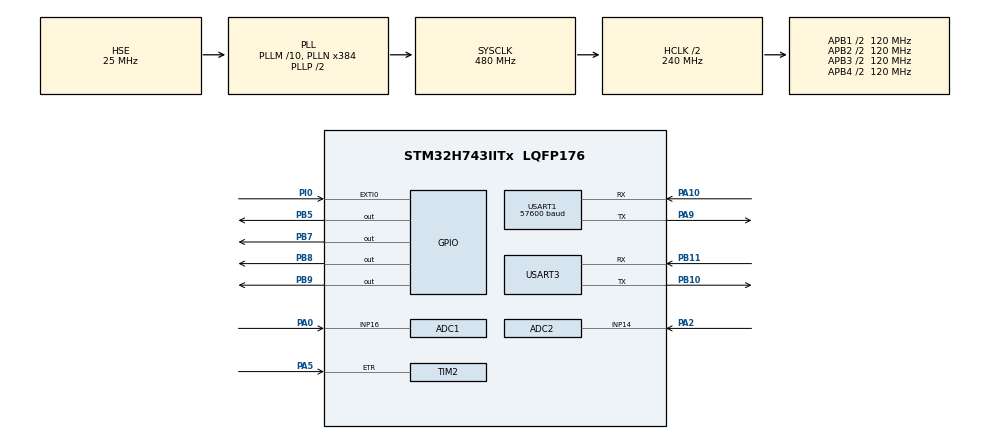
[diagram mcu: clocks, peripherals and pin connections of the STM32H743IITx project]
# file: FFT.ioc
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ADC1.Channel-2\#ChannelRegularConversion=ADC_CHANNEL_16
ADC1.ConversionDataManagement=ADC_CONVERSIONDATA_DMA_ONESHOT
ADC1.ExternalTrigConv=ADC_EXTERNALTRIG_T3_TRGO
ADC1.NbrOfConversionFlag=1
ADC1.OffsetNumber-2\#ChannelRegularConversion=ADC_OFFSET_NONE
ADC1.OffsetSignedSaturation-2\#ChannelRegularConversion=DISABLE
ADC1.Rank-2\#ChannelRegularConversion=1
ADC1.Resolution=ADC_RESOLUTION_12B
ADC1.SamplingTime-2\#ChannelRegularConversion=ADC_SAMPLETIME_1CYCLE_5
ADC1.master=1
ADC2.Channel-0\#ChannelRegularConversion=ADC_CHANNEL_14
ADC2.ConversionDataManagement=ADC_CONVERSIONDATA_DMA_ONESHOT
ADC2.ExternalTrigConv=ADC_EXTERNALTRIG_T8_TRGO
ADC2.NbrOfConversion=1
ADC2.NbrOfConversionFlag=1
ADC2.OffsetNumber-0\#ChannelRegularConversion=ADC_OFFSET_NONE
ADC2.OffsetSignedSaturation-0\#ChannelRegularConversion=DISABLE
ADC2.Rank-0\#ChannelRegularConversion=1
ADC2.SamplingTime-0\#ChannelRegularConversion=ADC_SAMPLETIME_1CYCLE_5
CORTEX_M7.AccessPermission-Cortex_Memory_Protection_Unit_Region0_Settings=MPU_REGION_PRIV_RO
CORTEX_M7.BaseAddress-Cortex_Memory_Protection_Unit_Region0_Settings=0x08000000
CORTEX_M7.Enable-Cortex_Memory_Protection_Unit_Region0_Settings=MPU_REGION_ENABLE
CORTEX_M7.IsCacheable-Cortex_Memory_Protection_Unit_Region0_Settings=MPU_ACCESS_CACHEABLE
CORTEX_M7.MPU_Control=MPU_PRIVILEGED_DEFAULT
CORTEX_M7.Size-Cortex_Memory_Protection_Unit_Region0_Settings=MPU_REGION_SIZE_2MB
CORTEX_M7.TypeExtField-Cortex_Memory_Protection_Unit_Region0_Settings=MPU_TEX_LEVEL1
Dma.ADC1.0.Direction=DMA_PERIPH_TO_MEMORY
Dma.ADC1.0.EventEnable=DISABLE
Dma.ADC1.0.FIFOMode=DMA_FIFOMODE_DISABLE
Dma.ADC1.0.Instance=DMA1_Stream0
Dma.ADC1.0.MemDataAlignment=DMA_MDATAALIGN_HALFWORD
Dma.ADC1.0.MemInc=DMA_MINC_ENABLE
Dma.ADC1.0.Mode=DMA_NORMAL
Dma.ADC1.0.PeriphDataAlignment=DMA_PDATAALIGN_HALFWORD
Dma.ADC1.0.PeriphInc=DMA_PINC_DISABLE
Dma.ADC1.0.Polarity=HAL_DMAMUX_REQ_GEN_RISING
Dma.ADC1.0.Priority=DMA_PRIORITY_LOW
Dma.ADC1.0.RequestNumber=1
Dma.ADC1.0.SignalID=NONE
Dma.ADC1.0.SyncEnable=DISABLE
Dma.ADC1.0.SyncPolarity=HAL_DMAMUX_SYNC_NO_EVENT
Dma.ADC1.0.SyncRequestNumber=1
Dma.ADC1.0.SyncSignalID=NONE
Dma.ADC2.1.Direction=DMA_PERIPH_TO_MEMORY
Dma.ADC2.1.EventEnable=DISABLE
Dma.ADC2.1.FIFOMode=DMA_FIFOMODE_DISABLE
Dma.ADC2.1.Instance=DMA1_Stream1
Dma.ADC2.1.MemDataAlignment=DMA_MDATAALIGN_HALFWORD
Dma.ADC2.1.MemInc=DMA_MINC_ENABLE
Dma.ADC2.1.Mode=DMA_NORMAL
Dma.ADC2.1.PeriphDataAlignment=DMA_PDATAALIGN_HALFWORD
Dma.ADC2.1.PeriphInc=DMA_PINC_DISABLE
Dma.ADC2.1.Polarity=HAL_DMAMUX_REQ_GEN_RISING
Dma.ADC2.1.Priority=DMA_PRIORITY_LOW
Dma.ADC2.1.RequestNumber=1
Dma.ADC2.1.SignalID=NONE
Dma.ADC2.1.SyncEnable=DISABLE
Dma.ADC2.1.SyncPolarity=HAL_DMAMUX_SYNC_NO_EVENT
Dma.ADC2.1.SyncRequestNumber=1
Dma.ADC2.1.SyncSignalID=NONE
Dma.Request0=ADC1
Dma.Request1=ADC2
Mcu.Family=STM32H7
Mcu.Name=STM32H743IITx
Mcu.Package=LQFP176
NVIC.DMA1_Stream0_IRQn=true\:1\:0\:true\:false\:true\:false\:true\:true
NVIC.DMA1_Stream1_IRQn=true\:1\:0\:true\:false\:true\:false\:true\:true
NVIC.EXTI0_IRQn=true\:0\:0\:true\:false\:true\:true\:true\:true
NVIC.PriorityGroup=NVIC_PRIORITYGROUP_4
NVIC.TIM4_IRQn=true\:1\:0\:true\:false\:true\:true\:true\:true
PA0.Mode=IN16-Single-Ended
PA0.Signal=ADC1_INP16
PA10.Mode=Asynchronous
PA10.Signal=USART1_RX
PA13\ (JTMS/SWDIO).Mode=Serial_Wire
PA13\ (JTMS/SWDIO).Signal=DEBUG_JTMS-SWDIO
PA14\ (JTCK/SWCLK).Mode=Serial_Wire
PA14\ (JTCK/SWCLK).Signal=DEBUG_JTCK-SWCLK
PA2.Signal=ADCx_INP14
PA5.Signal=S_TIM2_CH1_ETR
PA9.Mode=Asynchronous
PA9.Signal=USART1_TX
PB10.Mode=Asynchronous
PB10.Signal=USART3_TX
PB11.Mode=Asynchronous
PB11.Signal=USART3_RX
PB5.Signal=GPIO_Output
PB7.Signal=GPIO_Output
PB8.Signal=GPIO_Output
PB9.Signal=GPIO_Output
PC14-OSC32_IN\ (OSC32_IN).Mode=LSE-External-Oscillator
PC14-OSC32_IN\ (OSC32_IN).Signal=RCC_OSC32_IN
PC15-OSC32_OUT\ (OSC32_OUT).Mode=LSE-External-Oscillator
PC15-OSC32_OUT\ (OSC32_OUT).Signal=RCC_OSC32_OUT
PH0-OSC_IN\ (PH0).Mode=HSE-External-Oscillator
PH0-OSC_IN\ (PH0).Signal=RCC_OSC_IN
PH1-OSC_OUT\ (PH1).Mode=HSE-External-Oscillator
PH1-OSC_OUT\ (PH1).Signal=RCC_OSC_OUT
PI0.GPIO_ModeDefaultEXTI=GPIO_MODE_IT_FALLING
PI0.GPIO_PuPd=GPIO_PULLUP
PI0.Signal=GPXTI0
ProjectManager.HeapSize=0x200
ProjectManager.StackSize=0x400
ProjectManager.TargetToolchain=MDK-ARM V5.32
RCC.ADCFreq_Value=75000000
RCC.APB1Freq_Value=120000000
RCC.APB2Freq_Value=120000000
RCC.APB3Freq_Value=120000000
RCC.APB4Freq_Value=120000000
RCC.CortexFreq_Value=480000000
RCC.D1PPRE=RCC_APB3_DIV2
RCC.D2PPRE1=RCC_APB1_DIV2
RCC.D2PPRE2=RCC_APB2_DIV2
RCC.D3PPRE=RCC_APB4_DIV2
RCC.DIVM1=10
RCC.DIVM2=4
RCC.DIVN1=384
RCC.DIVN2=24
RCC.DIVR1=10
RCC.HCLKFreq_Value=240000000
RCC.HPRE=RCC_HCLK_DIV2
RCC.HSE_VALUE=25000000
RCC.PLL2FRACN=0
RCC.PLL3FRACN=0
RCC.PLLFRACN=0
RCC.PLLSourceVirtual=RCC_PLLSOURCE_HSE
RCC.SYSCLKFreq_VALUE=480000000
RCC.SYSCLKSource=RCC_SYSCLKSOURCE_PLLCLK
RCC.USBFreq_Value=480000000
SH.ADCx_INP14.0=ADC2_INP14,IN14-Single-Ended
SH.S_TIM2_CH1_ETR.0=TIM2_ETR,ClockSourceETR_Mode2
TIM3.Period=2000-1
TIM3.Prescaler=240-1
TIM3.TIM_MasterOutputTrigger=TIM_TRGO_UPDATE
TIM4.Period=10000-1
TIM4.Prescaler=24000-1
TIM8.Period=0
TIM8.Prescaler=59
USART1.BaudRate=57600
USART1.VirtualMode-Asynchronous=VM_ASYNC
USART3.VirtualMode-Asynchronous=VM_ASYNC
VP_MEMORYMAP_VS_MEMORYMAP.Mode=CurAppReg
VP_TIM3_VS_ClockSourceINT.Mode=Internal
VP_TIM4_VS_ClockSourceINT.Mode=Internal
VP_TIM8_VS_ClockSourceINT.Mode=Internal
board=custom

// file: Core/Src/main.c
/* USER CODE BEGIN Header */
/**
  ******************************************************************************
  * @file           : main.c
  * @brief          : Main program body
  ******************************************************************************
  * @attention
  *
  * Copyright (c) 2026 STMicroelectronics.
  * All rights reserved.
  *
  * This software is licensed under terms that can be found in the LICENSE file
  * in the root directory of this software component.
  * If no LICENSE file comes with this software, it is provided AS-IS.
  *
  ******************************************************************************
  */
/* USER CODE END Header */
#include "main.h"
#include "adc.h"
#include "dma.h"
#include "tim.h"
#include "usart.h"
#include "gpio.h"

/* USER CODE BEGIN Includes */
#include <stdio.h>
#include <xinhao.h>
/* USER CODE END Includes */

void SystemClock_Config(void);
void PeriphCommonClock_Config(void);
static void MPU_Config(void);

/* USER CODE BEGIN 0 */

// 自定义函数：动态改变采样频率
// 参数 psc: 新的预分频器值 (TIM_Prescaler)
// 参数 arr: 新的自动重载值 (TIM_Period)
void Change_Sample_Frequency (uint16_t psc, uint16_t arr)
{
    // 1. 停止定时器（如果有正在进行的ADC采集，最好也暂停）
    HAL_TIM_Base_Stop(&htim3); // 假设你的定时器句柄是 htim

    // 2. 修改定时器的核心参数
    //    ⚠️ 重要：修改参数前必须关闭定时器，否则可能导致配置错误
    __HAL_TIM_SET_PRESCALER(&htim3, psc);
    __HAL_TIM_SET_AUTORELOAD(&htim3, arr);

    // 3. 强制产生一个更新事件，让新的ARR值立即生效
    __HAL_TIM_SET_COUNTER(&htim3, 0); // 计数器清零
	HAL_TIM_GenerateEvent(&htim3, TIM_EVENTSOURCE_UPDATE);

    // 4. 重新启动定时器
    HAL_TIM_Base_Start(&htim3);
}

uint8_t dmaComp = 0;        //ADC1采集完成标志位
uint8_t dmaComp_ADC2 = 0;   //ADC2采集完成标志位

uint8_t key_presses = 1;     //对按键次数计次，初始值为1。一次按下按键后，只有按键消抖完成才会变成2，
uint8_t Signal_switch = 1;   //设置一个标志位，用于开启或者关闭信号测量。1为开启，0为关闭。初始化为1
void HAL_GPIO_EXTI_Callback(uint16_t GPIO_Pin)      //GPIO外部中断回调函数
{
	if(GPIO_Pin==GPIO_PIN_0)//判断是否是PI0引脚
    {
		if(key_presses == 1)
		{
			Signal_switch = 0;      //关闭信号测量
		}
		else if(key_presses == 2)
		{
			Signal_switch = 3;
		}
    }
}

uint8_t switch_KG = 0;

void HAL_TIM_PeriodElapsedCallback(TIM_HandleTypeDef *htim)
{
  if (htim == &htim4 && Signal_switch == 1)
  {
	  freq = __HAL_TIM_GET_COUNTER(&htim2);   //获取信号频率
	  HAL_TIM_Base_Stop_IT (&htim4);          //关闭定时器中断
	  __HAL_TIM_SET_COUNTER (&htim4,0);       //将中断定时器的计数器值归零
	  printf("t15.txt=\"%u\"\xff\xff\xff",freq);

	  uint16_t arr = 0;
	  if(freq == 0)
	  {
	      Change_Sample_Frequency (0, 59);	  //1000HZ采样率，采集时间固定1s
	  }
	  else if(freq == 1)
	  {
	      Change_Sample_Frequency (119, 1999);	  //1000HZ采样率，采集时间固定1s
	  }
	  else if(freq > 1 && freq <= 20)
	  {
	      Change_Sample_Frequency (59, 1999);	  //2000HZ采样率，采集时间固定0.5s
	  }
	  else if(freq > 20 && freq <= 1000)         //根据频率修改采样率
	  {
		  arr = 10000000.0f / 100.0f / (float)freq;           //预分频后 10MHz 的频率，最后每个周期采集100个点
	      Change_Sample_Frequency (23, arr);
	  }
	  else if(freq > 1000 && freq <= 40000)
	  {
		  arr = 240000000.0 / 100.0 / (float)freq;          //预分频后 240MHz 的频率，最后每个周期采集100个点
	      Change_Sample_Frequency (0, arr);
	  }
	  else if(freq > 40000)
	  {
		  arr = 2400000.0 * 101.0 / (float)freq;          //预分频后 240MHz 的频率，最后每个周期采集100个点
	      Change_Sample_Frequency (0, arr);
	  }

	  if(Signal_switch == 1)     //控制信号测量是否执行
	  {
		  switch_KG = 1;     //得到频率测量结果后进入ADC中断通道1进行放大
		  HAL_ADC_Start_DMA (&hadc1, (uint32_t*)input1_data , 1000);   //启动ADC采集信号
	  }
  }
}

void HAL_ADC_ConvCpltCallback(ADC_HandleTypeDef* hadc)
{
  /* Prevent unused argument(s) compilation warning */
  if(hadc == &hadc1)    //ADC1中断回调
  {
	  HAL_ADC_Stop_DMA(&hadc1);  //关闭ADC1

	  dmaComp=1;  //采样结束标志位置1
  }
  else if(hadc == &hadc2)  //ADC2中断回调
  {
	  HAL_ADC_Stop_DMA(&hadc2);  //关闭ADC2

	  dmaComp_ADC2 = 1;
  }
  /* NOTE : This function should not be modified. When the callback is needed,
            function HAL_ADC_ConvCpltCallback must be implemented in the user file.
   */
}
/* USER CODE END 0 */

int main(void)
{

  /* MPU Configuration--------------------------------------------------------*/
  MPU_Config();

  /* MCU Configuration--------------------------------------------------------*/

  /* Reset of all peripherals, Initializes the Flash interface and the Systick. */
  HAL_Init();

  /* Configure the system clock */
  SystemClock_Config();

  /* Configure the peripherals common clocks */
  PeriphCommonClock_Config();

  /* Initialize all configured peripherals */
  MX_GPIO_Init();
  MX_DMA_Init();
  MX_USART1_UART_Init();
  MX_TIM3_Init();
  MX_TIM2_Init();
  MX_ADC1_Init();
  MX_TIM4_Init();
  MX_ADC2_Init();
  MX_TIM8_Init();
  MX_USART3_UART_Init();
  /* USER CODE BEGIN 2 */
  HAL_TIM_Base_Start(&htim2);
  HAL_TIM_Base_Start_IT (&htim4);
  HAL_TIM_Base_Start(&htim3);
//  HAL_ADC_Start_DMA(&hadc1, (uint32_t*)input_data, 4096);
  /* USER CODE END 2 */

  /* Infinite loop */
  /* USER CODE BEGIN WHILE */
  while (1)
  {
	  if(Signal_switch == 3)         //对第二次按下按键消抖并开启信号测量
	  {
		  HAL_Delay(300);             //按键消抖(同时消去按下和弹起时产生的抖动)
		  if(HAL_GPIO_ReadPin(GPIOI,GPIO_PIN_0)== GPIO_PIN_SET)  //确认是否为高电平（此时按键已经弹起）
		  {
			  printf("page 0\xff\xff\xff");
			  key_presses = 1;
			  Signal_switch = 1;     //开启信号测量
			  dmaComp = 1;            //确保主循环里面可以进入信号测量部分代码
		  }
	  }
	  if(dmaComp_ADC2 == 1 && Signal_switch == 2)    //音频信号处理及识别
	  {
		  dmaComp_ADC2 = 0;
		                           //音频信号处理及识别（补）
		  HAL_ADC_Stop_DMA(&hadc1);  //关闭ADC1
		  HAL_ADC_Start_DMA (&hadc2, (uint32_t*)Music_data , 3000);   //启动ADC2采集音频信号
	  }
	  if(Signal_switch == 0)         //对第一次按键按下消抖以及开启音频测量
	  {
		  HAL_Delay(300);             //按键消抖(同时消去按下和弹起时产生的抖动)
		  if(HAL_GPIO_ReadPin(GPIOI,GPIO_PIN_0)== GPIO_PIN_SET)  //确认是否为高电平（此时按键已经弹起）
		  {
			  printf("page 1\xff\xff\xff");
			  key_presses = 2;
			  Signal_switch = 2;      //阻止ADC采集完毕前再次进入循环
			  HAL_ADC_Start_DMA (&hadc2, (uint32_t*)Music_data , 3000);   //启动ADC2采集音频信号
		  }
	  }
	  if(dmaComp == 1 && Signal_switch == 1)
	  {
		  dmaComp = 0;
		  if(switch_KG == 1)   //修改PGA电路放大系数
	      {
			  MedianFilter_3Point(input1_data, Medianfilter_data , 1000);         //中值滤波
			  MeanFilter_3Point(Medianfilter_data , Meanfilter_data , 1000);     //均值滤波

			  for(int i=0; i<1000; i++)
			  {
				  Meanfilter_Type_data[i] = Meanfilter_data [i];
			  }

			  uint8_t Type = 0;
			  if(freq > 20 || freq == 1)
			  {
				  Type = WAVE_Type(Meanfilter_data , 1000); 			  //波形识别
			  }
			  else if(freq <= 20 && freq !=1)
			  {
				  uint16_t len = 0;
				  float length = 0;

				  len = freq / 2;
				  length = 1000.0f / (float)freq * 2.0f;
				  len = (float)len * length;
				  printf("t13.txt=\"%d\"\xff\xff\xff" , len);
				  Type = WAVE_Type(Meanfilter_Type_data, len);
			  }

			  if(Type == 1)
			  {
				  printf("t4.txt=\"方波\"\xff\xff\xff");
			  }
			  else if(Type == 2)
			  {
				  printf("t4.txt=\"正弦波\"\xff\xff\xff");
			  }
			  else if(Type == 3)
			  {
				  printf("t4.txt=\"三角波\"\xff\xff\xff");
			  }

			  if(Type == 1)     //方波(已矫正)
			  {
				  Calculate_Square_VPP (Meanfilter_data, 1000);
				  //Square_VPP_data(Meanfilter_data, 1000);
				  VPP = VPP * 3320.0f / 4095.0f;
			  }
			  else if(Type == 2)  //正弦波(已矫正)
			  {
				  Calculate_VPP_Remove3(Meanfilter_data, 1000);               //12取9
				  VPP = VPP * 3330.0f / 4095.0f;
			  }
			  else          //三角波
			  {
				  Calculate_VPP_Remove4(Meanfilter_data, 1000);       //12取8
				  VPP = VPP * 3345.0f / 4095.0f;
			  }

			  printf("t5.txt=\"%.1f\"\xff\xff\xff" , VPP);

			  MODE_Switch();      //模拟开关选择
			  printf("t20.txt=\"%d\"\xff\xff\xff" , Factor);

              HAL_Delay(20);    //放大系数调整缓冲时间
              switch_KG = 2;   //使放大后再进行下一次ADC采样
              HAL_ADC_Start_DMA (&hadc1, (uint32_t*)input1_data , 1000);   //启动ADC采集信号
	      }
	      else if(switch_KG == 2)   //放大后数据处理
	      {
			  MedianFilter_3Point(input1_data, Medianfilter_data , 1000);         //中值滤波
			  MeanFilter_3Point(Medianfilter_data , Meanfilter_data , 1000);     //均值滤波

			  for(int i=0; i<1000; i++)
			  {
				  Meanfilter_Type_data[i] = Meanfilter_data [i];
			  }

			  uint8_t Type = 0;
			  if(freq > 20 || freq == 1)
			  {
				  Type = WAVE_Type(Meanfilter_data , 1000); 			  //波形识别
			  }
			  else if(freq <= 20 && freq !=1)
			  {
				  uint16_t len = 0;
				  float length = 0;

				  len = freq / 2;
				  length = 1000.0f / (float)freq * 2.0f;
				  len = (float)len * length;
				  printf("t13.txt=\"%d\"\xff\xff\xff" , len);
				  Type = WAVE_Type(Meanfilter_Type_data, len);
			  }

			  if(freq >= 20)                 //线性插值得到100个波形数据点，刚好一个完整周期
			  {
				  Get_Bule_Data(100);
			  }
			  if(freq < 20)
			  {
				  Get_Bule_Data((uint16_t)(1000.0f / (float)freq * 2.0f));
			  }

			  BLE_Send_Waveform_100 (Bule_Data);  //发送数据到蓝牙

//			  for(int s=0; s<1000; s++)
//			  {
//				   printf("%.1f\n", Meanfilter_data[s]);
//			  }

			  if(Type == 1)
			  {
				  printf("t12.txt=\"方波\"\xff\xff\xff");
			  }
			  else if(Type == 2)
			  {
				  printf("t12.txt=\"正弦波\"\xff\xff\xff");
			  }
			  else if(Type == 3)
			  {
				  printf("t12.txt=\"三角波\"\xff\xff\xff");
			  }

			  //峰峰值精确计算
			  for(int i=0; i<1000; i++)
			  {
				  input_data_float[i] = (float)input1_data[i];
			  }

			  if(Type == 1)     //方波(已矫正)
			  {
				  Calculate_Square_VPP (Meanfilter_data, 1000);
				  //Square_VPP_data(Meanfilter_data, 1000);
				  VPP = VPP * 3320.0f / 4095.0f;
			  }
			  else if(Type == 2)  //正弦波(已矫正)
			  {
				  Calculate_VPP_Remove3(Meanfilter_data, 1000);               //12取9
				  VPP = VPP * 3330.0f / 4095.0f;
			  }
			  else          //三角波
			  {
				  Calculate_VPP_Remove4(Meanfilter_data, 1000);       //12取8
				  VPP = VPP * 3345.0f / 4095.0f;
			  }
			  printf("t17.txt=\"%.1f\"\xff\xff\xff" , VPP);

			  if(Signal_switch == 1)     //控制信号测量是否执行
			  {
				  HAL_TIM_Base_Start_IT (&htim4);
				  __HAL_TIM_SET_COUNTER (&htim2,0);
			  }
		  }
	  }

    /* USER CODE END WHILE */

  }
}

void SystemClock_Config(void)
{
  RCC_OscInitTypeDef RCC_OscInitStruct = {0};
  RCC_ClkInitTypeDef RCC_ClkInitStruct = {0};

  /** Supply configuration update enable
  */
  HAL_PWREx_ConfigSupply(PWR_LDO_SUPPLY);

  /** Configure the main internal regulator output voltage
  */
  __HAL_PWR_VOLTAGESCALING_CONFIG(PWR_REGULATOR_VOLTAGE_SCALE0);

  while(!__HAL_PWR_GET_FLAG(PWR_FLAG_VOSRDY)) {}

  /** Initializes the RCC Oscillators according to the specified parameters
  * in the RCC_OscInitTypeDef structure.
  */
  RCC_OscInitStruct.OscillatorType = RCC_OSCILLATORTYPE_HSE;
  RCC_OscInitStruct.HSEState = RCC_HSE_ON;
  RCC_OscInitStruct.PLL.PLLState = RCC_PLL_ON;
  RCC_OscInitStruct.PLL.PLLSource = RCC_PLLSOURCE_HSE;
  RCC_OscInitStruct.PLL.PLLM = 10;
  RCC_OscInitStruct.PLL.PLLN = 384;
  RCC_OscInitStruct.PLL.PLLP = 2;
  RCC_OscInitStruct.PLL.PLLQ = 2;
  RCC_OscInitStruct.PLL.PLLR = 10;
  RCC_OscInitStruct.PLL.PLLRGE = RCC_PLL1VCIRANGE_1;
  RCC_OscInitStruct.PLL.PLLVCOSEL = RCC_PLL1VCOWIDE;
  RCC_OscInitStruct.PLL.PLLFRACN = 0;
  if (HAL_RCC_OscConfig(&RCC_OscInitStruct) != HAL_OK)
  {
    Error_Handler();
  }

  /** Initializes the CPU, AHB and APB buses clocks
  */
  RCC_ClkInitStruct.ClockType = RCC_CLOCKTYPE_HCLK|RCC_CLOCKTYPE_SYSCLK
                              |RCC_CLOCKTYPE_PCLK1|RCC_CLOCKTYPE_PCLK2
                              |RCC_CLOCKTYPE_D3PCLK1|RCC_CLOCKTYPE_D1PCLK1;
  RCC_ClkInitStruct.SYSCLKSource = RCC_SYSCLKSOURCE_PLLCLK;
  RCC_ClkInitStruct.SYSCLKDivider = RCC_SYSCLK_DIV1;
  RCC_ClkInitStruct.AHBCLKDivider = RCC_HCLK_DIV2;
  RCC_ClkInitStruct.APB3CLKDivider = RCC_APB3_DIV2;
  RCC_ClkInitStruct.APB1CLKDivider = RCC_APB1_DIV2;
  RCC_ClkInitStruct.APB2CLKDivider = RCC_APB2_DIV2;
  RCC_ClkInitStruct.APB4CLKDivider = RCC_APB4_DIV2;

  if (HAL_RCC_ClockConfig(&RCC_ClkInitStruct, FLASH_LATENCY_4) != HAL_OK)
  {
    Error_Handler();
  }
}

void PeriphCommonClock_Config(void)
{
  RCC_PeriphCLKInitTypeDef PeriphClkInitStruct = {0};

  /** Initializes the peripherals clock
  */
  PeriphClkInitStruct.PeriphClockSelection = RCC_PERIPHCLK_ADC;
  PeriphClkInitStruct.PLL2.PLL2M = 4;
  PeriphClkInitStruct.PLL2.PLL2N = 24;
  PeriphClkInitStruct.PLL2.PLL2P = 2;
  PeriphClkInitStruct.PLL2.PLL2Q = 2;
  PeriphClkInitStruct.PLL2.PLL2R = 2;
  PeriphClkInitStruct.PLL2.PLL2RGE = RCC_PLL2VCIRANGE_2;
  PeriphClkInitStruct.PLL2.PLL2VCOSEL = RCC_PLL2VCOMEDIUM;
  PeriphClkInitStruct.PLL2.PLL2FRACN = 0;
  PeriphClkInitStruct.AdcClockSelection = RCC_ADCCLKSOURCE_PLL2;
  if (HAL_RCCEx_PeriphCLKConfig(&PeriphClkInitStruct) != HAL_OK)
  {
    Error_Handler();
  }
}

 /* MPU Configuration */

void MPU_Config(void)
{
  MPU_Region_InitTypeDef MPU_InitStruct = {0};

  /* Disables the MPU */
  HAL_MPU_Disable();

  /** Initializes and configures the Region and the memory to be protected
  */
  MPU_InitStruct.Enable = MPU_REGION_ENABLE;
  MPU_InitStruct.Number = MPU_REGION_NUMBER0;
  MPU_InitStruct.BaseAddress = 0x08000000;
  MPU_InitStruct.Size = MPU_REGION_SIZE_2MB;
  MPU_InitStruct.SubRegionDisable = 0x0;
  MPU_InitStruct.TypeExtField = MPU_TEX_LEVEL1;
  MPU_InitStruct.AccessPermission = MPU_REGION_PRIV_RO;
  MPU_InitStruct.DisableExec = MPU_INSTRUCTION_ACCESS_ENABLE;
  MPU_InitStruct.IsShareable = MPU_ACCESS_NOT_SHAREABLE;
  MPU_InitStruct.IsCacheable = MPU_ACCESS_CACHEABLE;
  MPU_InitStruct.IsBufferable = MPU_ACCESS_NOT_BUFFERABLE;

  HAL_MPU_ConfigRegion(&MPU_InitStruct);
  /* Enables the MPU */
  HAL_MPU_Enable(MPU_PRIVILEGED_DEFAULT);

}

void Error_Handler(void)
{
  __disable_irq();
  while (1)
  {
  }
}
